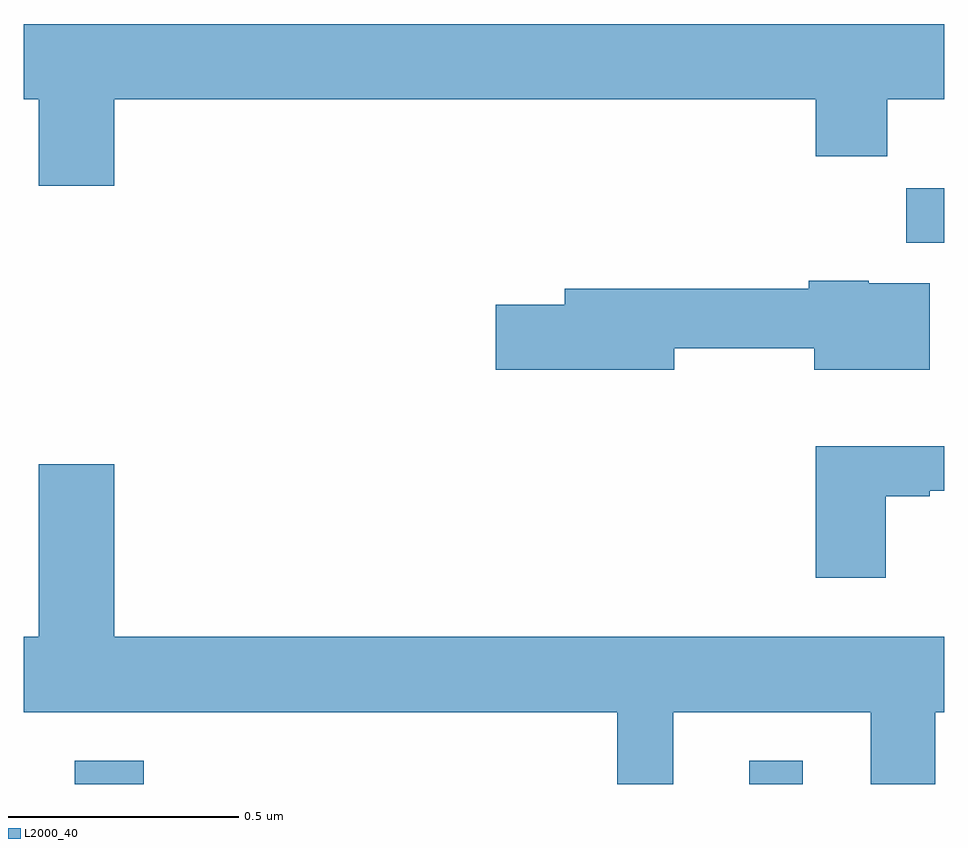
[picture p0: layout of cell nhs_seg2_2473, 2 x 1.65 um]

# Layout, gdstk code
import gdstk
lib = gdstk.Library(unit=1e-6, precision=1e-09)
def R(c, l, rs):  # rectangles x0, y0, x1, y1
    for r in rs: c.add(gdstk.rectangle(r[:2], r[2:], *l))
def P(c, l, *ps):  # polygons
    for p in ps: c.add(gdstk.Polygon(p, *l))
L2000_40 = (2000, 40)

nhs_seg2_2473 = lib.new_cell('nhs_seg2_2473')
R(nhs_seg2_2473, L2000_40, [(141.11,660.8,141.26,660.85), (142.577,660.8,142.693,660.85), (142.918,661.976,143,662.095)])
P(nhs_seg2_2473, L2000_40, [(141.196,662.288),(142.721,662.288),(142.721,662.164),(142.877,662.164),(142.877,662.288),(143,662.288),(143,662.452),(141,662.452),(141,662.288),(141.032,662.288),(141.032,662.1),(141.196,662.1)],
  [(142.414,661.747),(142.718,661.747),(142.718,661.7),(142.969,661.7),(142.969,661.888),(142.836,661.888),(142.836,661.894),(142.706,661.894),(142.706,661.876),(142.175,661.876),(142.175,661.842),(142.026,661.842),(142.026,661.7),(142.414,661.7)],
  [(142.873,661.425),(142.969,661.425),(142.969,661.437),(143,661.437),(143,661.534),(142.721,661.534),(142.721,661.248),(142.873,661.248)],
  [(141.196,661.495),(141.032,661.495),(141.032,661.12),(141,661.12),(141,660.956),(142.29,660.956),(142.29,660.8),(142.411,660.8),(142.411,660.956),(142.841,660.956),(142.841,660.8),(142.981,660.8),(142.981,660.956),(143,660.956),(143,661.12),(141.196,661.12)])

lib.write_gds('nhs_seg2_2473.gds')
